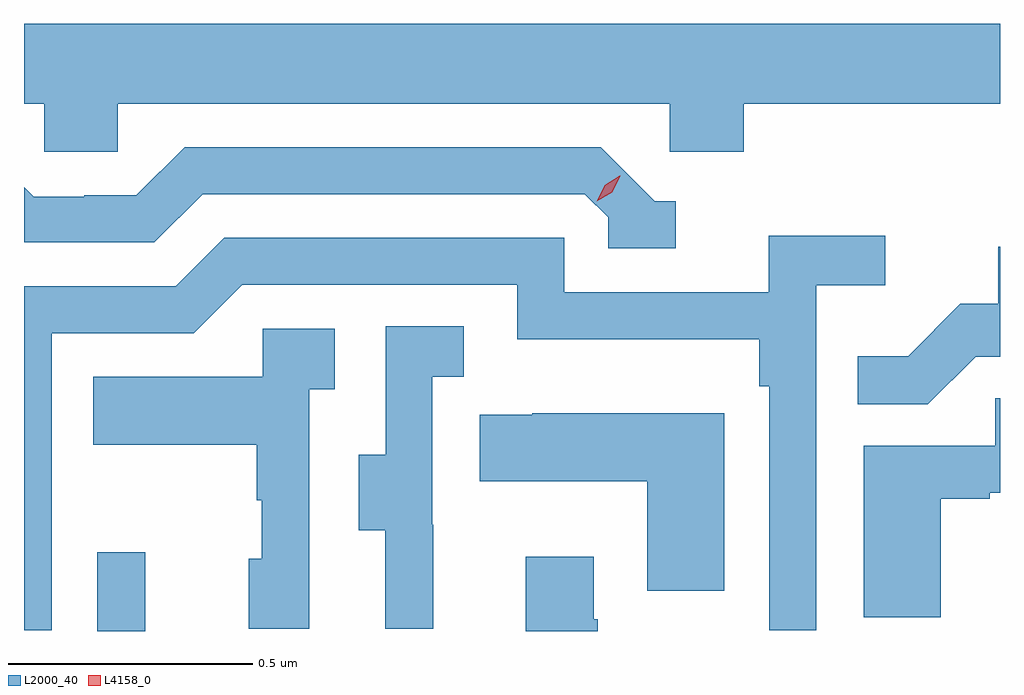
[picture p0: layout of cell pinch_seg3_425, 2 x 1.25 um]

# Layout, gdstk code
import gdstk
lib = gdstk.Library(unit=1e-6, precision=1e-09)
def R(c, l, rs):  # rectangles x0, y0, x1, y1
    for r in rs: c.add(gdstk.rectangle(r[:2], r[2:], *l))
def P(c, l, *ps):  # polygons
    for p in ps: c.add(gdstk.Polygon(p, *l))
L2000_40 = (2000, 40)
L4158_0 = (4158, 0)

pinch_seg3_425 = lib.new_cell('pinch_seg3_425')
R(pinch_seg3_425, L2000_40, [(952.761,699.835,952.859,699.997)])
P(pinch_seg3_425, L2000_40, [(952.803,700.916),(953.934,700.916),(953.934,700.818),(954.086,700.818),(954.086,700.916),(954.611,700.916),(954.611,701.08),(952.611,701.08),(952.611,700.916),(952.653,700.916),(952.653,700.818),(952.803,700.818)],
  [(953.947,700.716),(953.904,700.716),(953.793,700.827),(952.94,700.827),(952.841,700.728),(952.734,700.728),(952.734,700.725),(952.631,700.725),(952.611,700.745),(952.611,700.632),(952.878,700.632),(952.977,700.731),(953.76,700.731),(953.808,700.683),(953.808,700.62),(953.947,700.62)],
  [(952.668,700.446),(952.959,700.446),(953.058,700.545),(953.622,700.545),(953.622,700.433),(954.118,700.433),(954.118,700.337),(954.138,700.337),(954.138,699.837),(954.234,699.837),(954.234,700.544),(954.376,700.544),(954.376,700.646),(954.137,700.646),(954.137,700.53),(953.718,700.53),(953.718,700.641),(953.021,700.641),(952.922,700.542),(952.611,700.542),(952.611,699.837),(952.668,699.837)],
  [(954.561,700.398),(954.611,700.398),(954.611,700.623),(954.607,700.623),(954.607,700.506),(954.53,700.506),(954.423,700.399),(954.319,700.399),(954.319,700.3),(954.463,700.3)],
  [(953.45,700.053),(953.448,700.053),(953.448,700.357),(953.512,700.357),(953.512,700.46),(953.352,700.46),(953.352,700.197),(953.297,700.197),(953.297,700.042),(953.351,700.042),(953.351,699.84),(953.45,699.84)],
  [(953.196,700.331),(953.248,700.331),(953.248,700.455),(953.1,700.455),(953.1,700.357),(952.753,700.357),(952.753,700.217),(953.088,700.217),(953.088,700.103),(953.098,700.103),(953.098,699.984),(953.072,699.984),(953.072,699.84),(953.196,699.84)],
  [(954.49,700.107),(954.59,700.107),(954.59,700.119),(954.611,700.119),(954.611,700.313),(954.601,700.313),(954.601,700.215),(954.332,700.215),(954.332,699.864),(954.49,699.864)],
  [(954.046,700.282),(953.653,700.282),(953.653,700.279),(953.545,700.279),(953.545,700.142),(953.888,700.142),(953.888,699.918),(954.046,699.918)],
  [(953.787,699.86),(953.779,699.86),(953.779,699.988),(953.639,699.988),(953.639,699.835),(953.787,699.835)])
P(pinch_seg3_425, L4158_0, [(953.785,700.716),(953.785,700.716),(953.801,700.749),(953.832,700.768),(953.833,700.768),(953.833,700.767),(953.816,700.735),(953.785,700.716)])

lib.write_gds('pinch_seg3_425.gds')
